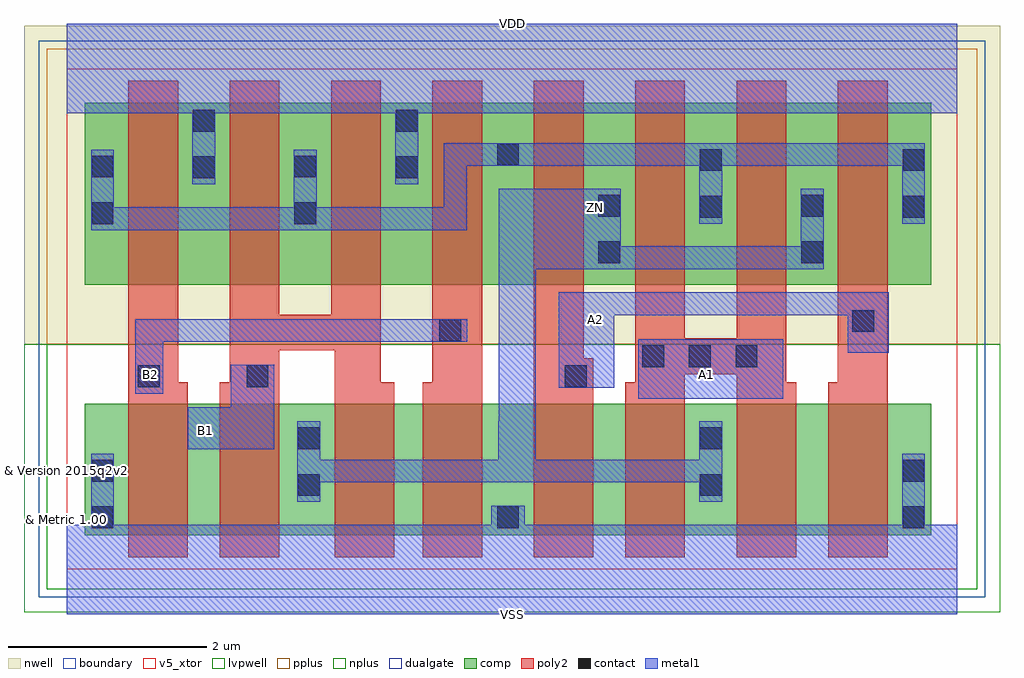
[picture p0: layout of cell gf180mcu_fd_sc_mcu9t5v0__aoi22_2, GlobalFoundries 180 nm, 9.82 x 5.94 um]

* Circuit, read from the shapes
.subckt gf180mcu_fd_sc_mcu9t5v0__aoi22_2 A1 A2 B1 B2 VDD VSS ZN
XM1 n1 B2 VSS VSUBS nfet_05v0 w=1.32u l=0.6u
XM2 ZN B1 n1 VSUBS nfet_05v0 w=1.32u l=0.6u
XM3 n2 B1 ZN VSUBS nfet_05v0 w=1.32u l=0.6u
XM4 VSS B2 n2 VSUBS nfet_05v0 w=1.32u l=0.6u
XM5 n3 A2 VSS VSUBS nfet_05v0 w=1.32u l=0.6u
XM6 ZN A1 n3 VSUBS nfet_05v0 w=1.32u l=0.6u
XM7 n4 A1 ZN VSUBS nfet_05v0 w=1.32u l=0.6u
XM8 VSS A2 n4 VSUBS nfet_05v0 w=1.32u l=0.6u
XM9 VDD B2 n5 n6 pfet_05v0 w=1.83u l=0.5u m=2
XM10 n5 B1 VDD n6 pfet_05v0 w=1.83u l=0.5u m=2
XM11 ZN A2 n5 n6 pfet_05v0 w=1.83u l=0.5u m=2
XM12 n5 A1 ZN n6 pfet_05v0 w=1.83u l=0.5u m=2
.ends

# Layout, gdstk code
import gdstk
lib = gdstk.Library(unit=1e-6, precision=1e-09)
def R(c, l, rs):  # rectangles x0, y0, x1, y1
    for r in rs: c.add(gdstk.rectangle(r[:2], r[2:], *l))
def A(c, l, x, y, w, h, nx, ny, dx, dy):  # array of equal rectangles
    R(c, l, [(x+i*dx, y+j*dy, x+i*dx+w, y+j*dy+h) for i in range(nx) for j in range(ny)])
def P(c, l, *ps):  # polygons
    for p in ps: c.add(gdstk.Polygon(p, *l))
boundary = (0, 0)
nwell = (21, 0)
comp = (22, 0)
poly2 = (30, 0)
pplus = (31, 0)
nplus = (32, 0)
contact = (33, 0)
metal1 = (34, 0)
dualgate = (55, 0)
v5_xtor = (112, 1)
lvpwell = (204, 0)

gf180mcu_fd_sc_mcu9t5v0_ = lib.new_cell('gf180mcu_fd_sc_mcu9t5v0__aoi22_2')
R(gf180mcu_fd_sc_mcu9t5v0_, boundary, [(0,0,8.96,5.04)])
R(gf180mcu_fd_sc_mcu9t5v0_, nwell, [(-0.43,2.265,9.39,5.47)])
R(gf180mcu_fd_sc_mcu9t5v0_, comp, [(0.18,0.345,8.7,1.665), (0.18,2.865,8.7,4.695)])
P(gf180mcu_fd_sc_mcu9t5v0_, poly2, [(0.62,0.125),(0.62,4.915),(1.12,4.915),(1.12,1.885),(1.22,1.885),(1.22,0.125)],
  [(1.54,0.125),(1.54,1.885),(1.64,1.885),(1.64,4.915),(2.14,4.915),(2.14,2.565),(2.66,2.565),(2.66,4.915),(3.16,4.915),(3.16,1.885),(3.295,1.885),(3.295,0.125),(2.695,0.125),(2.695,2.205),(2.14,2.205),(2.14,0.125)],
  [(3.58,0.125),(3.58,1.885),(3.68,1.885),(3.68,4.915),(4.18,4.915),(4.18,0.125)],
  [(4.7,0.125),(4.7,4.915),(5.2,4.915),(5.2,2.125),(5.3,2.125),(5.3,0.125)],
  [(5.62,0.125),(5.62,1.885),(5.72,1.885),(5.72,4.915),(6.22,4.915),(6.22,2.325),(6.74,2.325),(6.74,4.915),(7.24,4.915),(7.24,1.885),(7.34,1.885),(7.34,0.125),(6.74,0.125),(6.74,1.965),(6.22,1.965),(6.22,0.125)],
  [(7.66,0.125),(7.66,1.885),(7.76,1.885),(7.76,4.915),(8.26,4.915),(8.26,0.125)])
R(gf180mcu_fd_sc_mcu9t5v0_, pplus, [(-0.2,2.265,9.16,5.24)])
R(gf180mcu_fd_sc_mcu9t5v0_, nplus, [(-0.2,-0.2,9.16,2.265)])
A(gf180mcu_fd_sc_mcu9t5v0_, contact, 0.25, 0.415, 0.22, 0.22, 3, 1, 4.08, 0)
A(gf180mcu_fd_sc_mcu9t5v0_, contact, 5.79, 2.035, 0.22, 0.22, 3, 1, 0.47, 0)
R(gf180mcu_fd_sc_mcu9t5v0_, contact, [(2.325,0.74,2.545,0.96), (6.37,0.74,6.59,0.96), (0.25,0.885,0.47,1.105), (8.41,0.885,8.63,1.105), (2.325,1.21,2.545,1.43), (6.37,1.21,6.59,1.43), (0.715,1.835,0.935,2.055), (1.81,1.835,2.03,2.055), (5.01,1.835,5.23,2.055), (3.75,2.295,3.97,2.515), (7.905,2.39,8.125,2.61), (5.35,3.08,5.57,3.3), (7.39,3.08,7.61,3.3), (0.25,3.475,0.47,3.695), (2.29,3.475,2.51,3.695), (6.37,3.54,6.59,3.76), (8.41,3.54,8.63,3.76), (5.35,3.55,5.57,3.77), (7.39,3.55,7.61,3.77), (1.27,3.935,1.49,4.155), (3.31,3.935,3.53,4.155), (0.25,3.945,0.47,4.165), (2.29,3.945,2.51,4.165), (6.37,4.01,6.59,4.23), (8.41,4.01,8.63,4.23), (4.33,4.065,4.55,4.285), (1.27,4.405,1.49,4.625), (3.31,4.405,3.53,4.625)])
R(gf180mcu_fd_sc_mcu9t5v0_, metal1, [(5.75,1.72,7.21,2.315)])
P(gf180mcu_fd_sc_mcu9t5v0_, metal1, [(1.22,1.21),(1.22,1.63),(1.65,1.63),(1.65,2.06),(2.09,2.06),(2.09,1.21)],
  [(0.69,1.77),(0.69,2.52),(4.03,2.52),(4.03,2.29),(0.97,2.29),(0.97,1.77)],
  [(2.32,0.68),(2.32,1.49),(2.55,1.49),(2.55,1.105),(4.34,1.105),(4.34,1.49),(4.345,1.49),(4.345,3.83),(5.575,3.83),(5.575,3.25),(7.385,3.25),(7.385,3.83),(7.615,3.83),(7.615,3.02),(4.72,3.02),(4.72,1.105),(6.365,1.105),(6.365,1.49),(6.595,1.49),(6.595,0.68),(6.365,0.68),(6.365,0.875),(2.55,0.875),(2.55,0.68)],
  [(4.95,1.83),(4.95,2.79),(8.27,2.79),(8.27,2.18),(7.86,2.18),(7.86,2.56),(5.51,2.56),(5.51,1.83)],
  [(0.245,3.415),(0.245,4.225),(0.475,4.225),(0.475,3.645),(2.285,3.645),(2.285,4.225),(2.515,4.225),(2.515,3.645),(3.795,3.645),(3.795,4.29),(8.635,4.29),(8.635,3.48),(8.405,3.48),(8.405,4.06),(6.595,4.06),(6.595,3.48),(6.365,3.48),(6.365,4.06),(4.025,4.06),(4.025,3.415)],
  [(0,-0.45),(0,0.45),(0.245,0.45),(0.245,1.165),(0.475,1.165),(0.475,0.45),(4.27,0.45),(4.27,0.64),(4.61,0.64),(4.61,0.45),(8.405,0.45),(8.405,1.165),(8.635,1.165),(8.635,0.45),(8.96,0.45),(8.96,-0.45)],
  [(1.265,3.875),(1.265,4.59),(0,4.59),(0,5.49),(8.96,5.49),(8.96,4.59),(3.535,4.59),(3.535,3.875),(3.305,3.875),(3.305,4.59),(1.495,4.59),(1.495,3.875)])
R(gf180mcu_fd_sc_mcu9t5v0_, dualgate, [(-0.28,-0.28,9.24,5.32)])
R(gf180mcu_fd_sc_mcu9t5v0_, v5_xtor, [(0,0,8.96,5.04)])
R(gf180mcu_fd_sc_mcu9t5v0_, lvpwell, [(-0.43,-0.43,9.39,2.265)])
gf180mcu_fd_sc_mcu9t5v0_.add(gdstk.Label('A1', (6.44,1.96), layer=34, texttype=10))
gf180mcu_fd_sc_mcu9t5v0_.add(gdstk.Label('A2', (5.32,2.52), layer=34, texttype=10))
gf180mcu_fd_sc_mcu9t5v0_.add(gdstk.Label('B1', (1.4,1.4), layer=34, texttype=10))
gf180mcu_fd_sc_mcu9t5v0_.add(gdstk.Label('B2', (0.84,1.96), layer=34, texttype=10))
gf180mcu_fd_sc_mcu9t5v0_.add(gdstk.Label('VDD', (4.48,5.49), layer=34, texttype=10))
gf180mcu_fd_sc_mcu9t5v0_.add(gdstk.Label('VSS', (4.48,-0.45), layer=34, texttype=10))
gf180mcu_fd_sc_mcu9t5v0_.add(gdstk.Label('ZN', (5.32,3.64), layer=34, texttype=10))
gf180mcu_fd_sc_mcu9t5v0_.add(gdstk.Label('& Vendor GLOBALFOUNDRIES', (0,2), layer=63, texttype=63))
gf180mcu_fd_sc_mcu9t5v0_.add(gdstk.Label('& Product GF018hv5v_green_sc9', (0,1.5), layer=63, texttype=63))
gf180mcu_fd_sc_mcu9t5v0_.add(gdstk.Label('& Version 2015q2v2', (0,1), layer=63, texttype=63))
gf180mcu_fd_sc_mcu9t5v0_.add(gdstk.Label('& Metric 1.00', (0,0.5), layer=63, texttype=63))

lib.write_gds('gf180mcu_fd_sc_mcu9t5v0__aoi22_2.gds')
